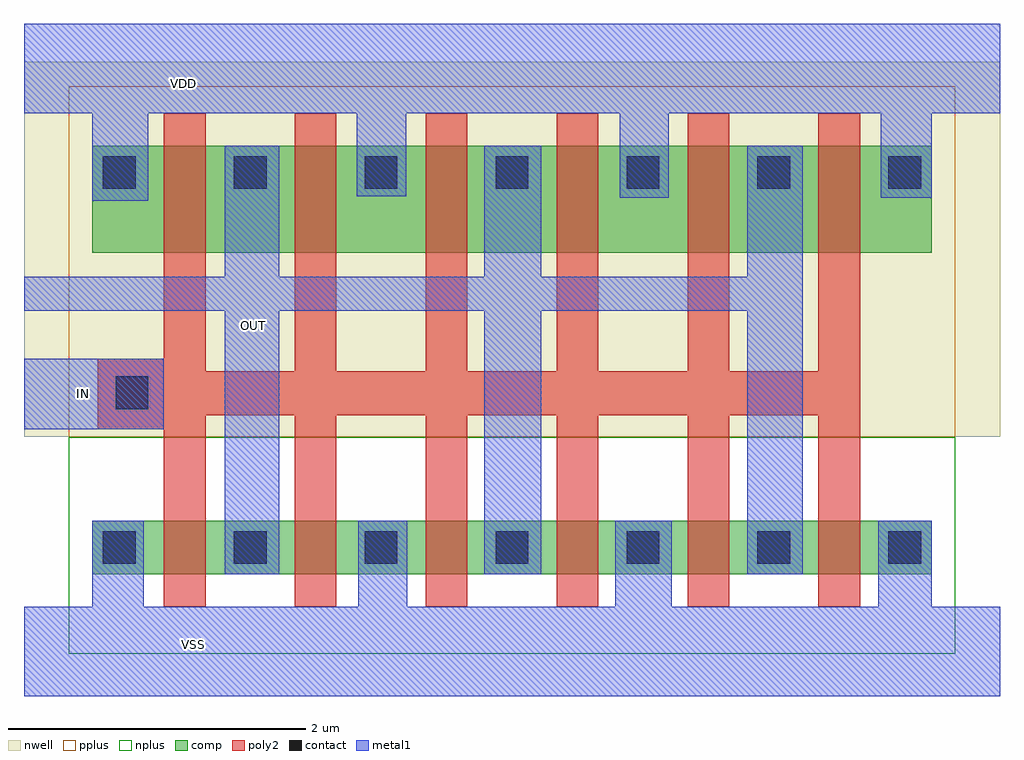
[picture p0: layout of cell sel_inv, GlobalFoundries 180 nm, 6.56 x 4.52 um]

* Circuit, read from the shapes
.subckt sel_inv IN OUT VDD VSS
XM1 OUT IN VSS VSUBS nfet_03v3 w=0.36u l=0.28u m=6
XM2 OUT IN VDD n1 pfet_03v3 w=0.72u l=0.28u m=6
.ends

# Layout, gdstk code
import gdstk
lib = gdstk.Library(unit=1e-6, precision=1e-09)
def R(c, l, rs):  # rectangles x0, y0, x1, y1
    for r in rs: c.add(gdstk.rectangle(r[:2], r[2:], *l))
def A(c, l, x, y, w, h, nx, ny, dx, dy):  # array of equal rectangles
    R(c, l, [(x+i*dx, y+j*dy, x+i*dx+w, y+j*dy+h) for i in range(nx) for j in range(ny)])
nwell = (21, 0)
comp = (22, 0)
poly2 = (30, 0)
pplus = (31, 0)
nplus = (32, 0)
contact = (33, 0)
metal1 = (34, 0)

sel_inv = lib.new_cell('sel_inv')
R(sel_inv, nwell, [(-2.555,-1.915,4.005,0.605)])
R(sel_inv, comp, [(-2.095,-2.84,3.545,-2.48), (-2.095,-0.68,3.545,0.04)])
A(sel_inv, poly2, -1.615, -3.06, 0.28, 3.32, 6, 1, 0.88, 0)
R(sel_inv, poly2, [(-2.06,-1.865,-1.615,-1.39), (-1.335,-1.77,3.065,-1.475)])
R(sel_inv, pplus, [(-2.255,-1.92,3.705,0.44)])
R(sel_inv, nplus, [(-2.255,-3.375,3.705,-1.92)])
A(sel_inv, contact, -2.025, -2.77, 0.22, 0.22, 7, 2, 0.88, 2.52)
R(sel_inv, contact, [(-1.94,-1.73,-1.72,-1.51)])
R(sel_inv, metal1, [(-2.555,-3.66,4.005,-3.06), (-2.095,-3.06,-1.75,-2.48), (-0.31,-3.06,0.02,-2.48), (1.42,-3.06,1.8,-2.48), (3.185,-3.06,3.545,-2.48), (-1.205,-2.84,-0.84,0.04), (0.54,-2.84,0.92,0.04), (2.305,-2.84,2.68,0.04), (-2.555,-1.865,-1.615,-1.39), (-2.555,-1.07,2.68,-0.84), (-2.095,-0.33,-1.72,0.26), (1.45,-0.31,1.78,0.26), (3.205,-0.31,3.545,0.26), (-0.32,-0.3,0.015,0.26), (-2.555,0.26,4.005,0.86)])
sel_inv.add(gdstk.Label('IN', (-2.155,-1.625), layer=34, texttype=10))
sel_inv.add(gdstk.Label('OUT', (-1.01,-1.165), layer=34, texttype=10))
sel_inv.add(gdstk.Label('VSS', (-1.415,-3.315), layer=34, texttype=10))
sel_inv.add(gdstk.Label('VDD', (-1.48,0.46), layer=34, texttype=10))

lib.write_gds('sel_inv.gds')
